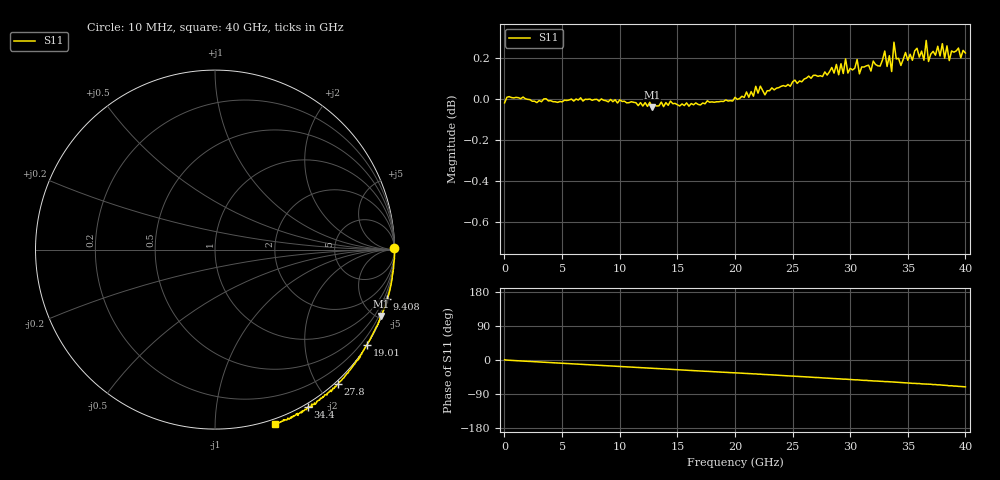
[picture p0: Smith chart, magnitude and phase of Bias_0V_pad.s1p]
!Agilent Technologies,N5227A,US51270434,A.10.00.00
!Agilent N5227A: A.10.00.00
!Date: Wednesday, April 01, 2026 16:42:12
!Correction: S11(Full 1 Port(1))
!S1P File: Measurement: S11:
# Hz S  dB  R 50
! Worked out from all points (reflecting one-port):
!   201 points, 10 MHz to 40 GHz, reference 50 ohm
!   lowest |S11| = 0.0 dB at 12.81 GHz (marker M1), VSWR 437.99, Z = 3.2 - j260 ohm
!   phase of S11 starts at 1 deg and turns -71 deg over the sweep
!   S11 on the Smith chart (normalised r, x): 10 MHz: open; 9.408 GHz: 0.04, -7.07; 19.01 GHz: 0.01, -3.47; 27.8 GHz: -0.05, -2.27; 34.4 GHz: -0.04, -1.75; 40 GHz: -0.04, -1.40
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1e7  -0.02 0.6
6.0985e8  0.01 -1.1
5.00875e9  -0.01 -8.5
9.40765e9  -0.01 -16.1
1.00075e10  -0.00 -17.2
1.28068e10  -0.04 -21.8
1.500625e10  -0.03 -25.6
1.900525e10  -0.01 -32.1
2.0005e10  0.01 -34.0
2.180455e10  0.06 -36.6
2.500375e10  0.08 -42.5
2.780305e10  0.13 -47.5
3.00025e10  0.15 -51.4
3.300175e10  0.23 -57.1
3.36016e10  0.13 -58.0
3.380155e10  0.28 -58.3
3.44014e10  0.16 -59.5
3.500125e10  0.19 -60.5
3.64009e10  0.19 -63.3
3.660085e10  0.28 -63.4
3.68008e10  0.18 -63.7
3.76006e10  0.26 -65.7
3.780055e10  0.21 -65.5
3.80005e10  0.27 -66.4
3.84004e10  0.26 -67.1
3.860035e10  0.19 -68.1
3.88003e10  0.23 -67.9
4e10  0.22 -70.9
